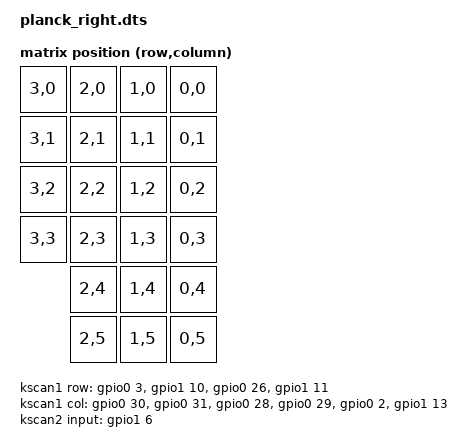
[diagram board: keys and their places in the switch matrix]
#include "planck.dtsi"
#include <dt-bindings/led/led.h>

/ {
	EXT_POWER {
		compatible = "zmk,ext-power-generic";
		control-gpios = <&gpio1 4 GPIO_ACTIVE_HIGH>;
		init-delay-ms = <50>;
	};
};

&pinctrl {
    spi2_default: spi2_default {
				group1 {
						psels = <NRF_PSEL(SPIM_MOSI, 0, 20)>,
						<NRF_PSEL(SPIM_SCK, 0, 24)>;
				};
		};
	
    spi2_sleep: spi2_sleep {
				group1 {
						psels = <NRF_PSEL(SPIM_MOSI, 0, 20)>,
						<NRF_PSEL(SPIM_SCK, 0, 24)>;
						low-power-enable;
				};
		};

    spi3_default: spi3_default {
				group1 {
						psels = <NRF_PSEL(SPIM_MOSI, 0, 13)>;
				};
		};
	
    spi3_sleep: spi3_sleep {
				group1 {
						psels = <NRF_PSEL(SPIM_MOSI, 0, 13)>;
						low-power-enable;
				};
		};
};


lpm_view_spi: &spi2 {
    compatible = "nordic,nrf-spim";
    pinctrl-0 = <&spi2_default>;
    pinctrl-1 = <&spi2_sleep>;
    pinctrl-names = "default", "sleep";
    cs-gpios = <&gpio0 22 (GPIO_ACTIVE_HIGH | GPIO_PULL_DOWN) >;
};

nice_view_spi: &spi2 {
    compatible = "nordic,nrf-spim";
    pinctrl-0 = <&spi2_default>;
    pinctrl-1 = <&spi2_sleep>;
    pinctrl-names = "default", "sleep";
    cs-gpios = <&gpio0 22 (GPIO_ACTIVE_HIGH | GPIO_PULL_DOWN) >;
};


&spi3 {
	compatible = "nordic,nrf-spim";
	status = "okay";
	pinctrl-0 = <&spi3_default>;
	pinctrl-1 = <&spi3_sleep>;
	pinctrl-names = "default", "sleep";

	led_strip: ws2812@0 {
				compatible ="worldsemi,ws2812-spi";
        /* SPI */
        reg = <0>; /* ignored, but necessary for SPI bindings */
        spi-max-frequency = <4000000>;

        /* WS2812 */
        chain-length = <28>; /* arbitrary; change at will */
        spi-one-frame = <0x70>;
        spi-zero-frame = <0x40>;

        color-mapping = <LED_COLOR_ID_GREEN LED_COLOR_ID_RED LED_COLOR_ID_BLUE>;
		};
};
// 独立后不再需要把右板拼到合并变换的右半，故去掉 col-offset，
// 并覆盖 map：右板底排在 col 0..3（编码器键在 col 3）。
&default_transform {
	map = <
		RC(0,0) RC(0,1) RC(0,2) RC(0,3) RC(0,4) RC(0,5)
		RC(1,0) RC(1,1) RC(1,2) RC(1,3) RC(1,4) RC(1,5)
		RC(2,0) RC(2,1) RC(2,2) RC(2,3) RC(2,4) RC(2,5)
		RC(3,0) RC(3,1) RC(3,2) RC(3,3)
	>;
};
&right_encoder {
    status = "okay";
};

&sensors {
	sensors = <&right_encoder>;
};

/ {
	chosen {
		zmk,physical-layout = &right_physical_layout;
    zmk,underglow = &led_strip;
	};

	// 右板：整体顺时针旋转 90°（4 列 x 6 行）。
	// new_x = (4-1) - row, new_y = col。位置顺序同（覆盖后的）default_transform。
	right_physical_layout: right_physical_layout {
		compatible = "zmk,physical-layout";
		display-name = "PlanckKeys Right";
		transform = <&default_transform>;
		kscan = <&kscan0>;
		keys  //                     w   h    x    y   rot   rx   ry
			= <&key_physical_attrs 100 100  300    0     0    0    0>
			, <&key_physical_attrs 100 100  300  100     0    0    0>
			, <&key_physical_attrs 100 100  300  200     0    0    0>
			, <&key_physical_attrs 100 100  300  300     0    0    0>
			, <&key_physical_attrs 100 100  300  400     0    0    0>
			, <&key_physical_attrs 100 100  300  500     0    0    0>
			, <&key_physical_attrs 100 100  200    0     0    0    0>
			, <&key_physical_attrs 100 100  200  100     0    0    0>
			, <&key_physical_attrs 100 100  200  200     0    0    0>
			, <&key_physical_attrs 100 100  200  300     0    0    0>
			, <&key_physical_attrs 100 100  200  400     0    0    0>
			, <&key_physical_attrs 100 100  200  500     0    0    0>
			, <&key_physical_attrs 100 100  100    0     0    0    0>
			, <&key_physical_attrs 100 100  100  100     0    0    0>
			, <&key_physical_attrs 100 100  100  200     0    0    0>
			, <&key_physical_attrs 100 100  100  300     0    0    0>
			, <&key_physical_attrs 100 100  100  400     0    0    0>
			, <&key_physical_attrs 100 100  100  500     0    0    0>
			, <&key_physical_attrs 100 100    0    0     0    0    0>
			, <&key_physical_attrs 100 100    0  100     0    0    0>
			, <&key_physical_attrs 100 100    0  200     0    0    0>
			, <&key_physical_attrs 100 100    0  300     0    0    0>
			;
	};

	kscan0: kscan_composite {
        compatible = "zmk,kscan-composite";
        rows = <4>;
        columns = <12>;

        wakeup-source;

        // Include the matrix driver
        matrix {
            kscan = <&kscan1>;
        };

        // Include the direct GPIO driver...
        direct {
            kscan = <&kscan2>;
						row-offset=<3>;
            col-offset = <3>; // ...and shift it to not overlap
        };
    };
    kscan1: kscan_matrix {
        compatible = "zmk,kscan-gpio-matrix";
        wakeup-source;

        diode-direction = "col2row";
        row-gpios
            = <&gpio0 3 (GPIO_ACTIVE_HIGH | GPIO_PULL_DOWN)>
            , <&gpio1 10 (GPIO_ACTIVE_HIGH | GPIO_PULL_DOWN)>
            , <&gpio0 26 (GPIO_ACTIVE_HIGH | GPIO_PULL_DOWN)>
            , <&gpio1 11 (GPIO_ACTIVE_HIGH | GPIO_PULL_DOWN)>
            ;
				col-gpios
						  =   <&gpio0 30 (GPIO_ACTIVE_HIGH )>
								, <&gpio0 31 (GPIO_ACTIVE_HIGH )>
								, <&gpio0 28 (GPIO_ACTIVE_HIGH)>
								, <&gpio0 29 (GPIO_ACTIVE_HIGH)>
								, <&gpio0 2 (GPIO_ACTIVE_HIGH)>
								, <&gpio1 13 (GPIO_ACTIVE_HIGH)>;
    };
     kscan2: kscan_direct {
        compatible = "zmk,kscan-gpio-direct";
				wakeup-source;
				input-gpios 
			    = <&gpio1 6 (GPIO_ACTIVE_LOW | GPIO_PULL_UP)>;
    };
};
